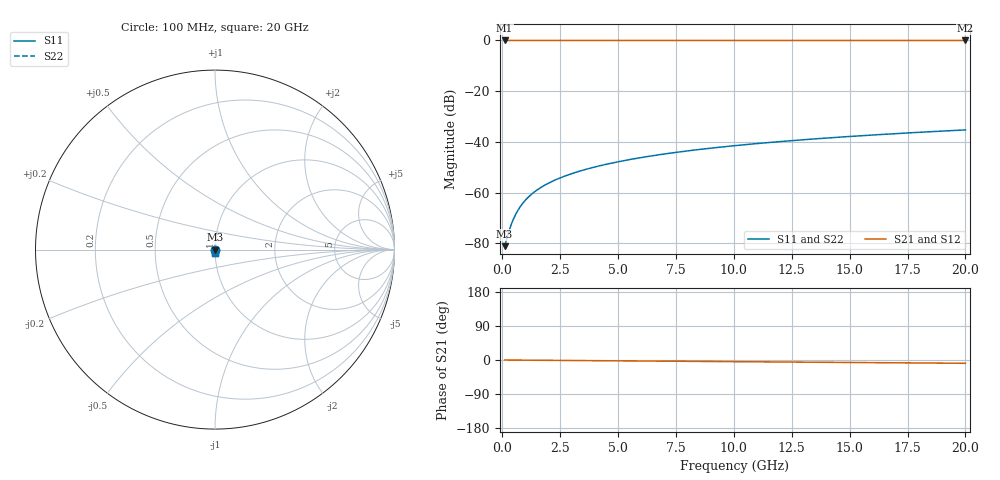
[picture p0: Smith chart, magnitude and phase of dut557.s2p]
! Touchstone file exported from HFSS 2026.1.0
!  File:  C:/ffzhzh/LocalFiles/Ansys_Project_Files/temp_train_TSV_557_1783024415_55676.aedt
!  Generated:  04:35:02 AM Jul  3, 2026
!  Design:  TSV
!  Project:  temp_train_TSV_557_1783024415_55676
! Variables:
!  h_bsmrdl = 2um
!  h_ox = 20um
!  h_rdl = 5um
!  h_sub = 86.61um
!  h_tmrdl = 5um
!  h_tsv = 86.61um
!  h_via = 3um
!  l_bsmrdl = 300um
!  l_sub = 429.4um
!  l_tmrdl = 200um
!  m_sub = 200um
!  pitch = 52.46um
!  r_tsv = 14.7um
!  s_tmrdl = 10um
!  w_bsmrdl = 18um
!  w_sub = 500um
!  w_tmrdl = 12um
!  x_tsv_center1 = 206um
!  x_tsv_center2 = 524um
!  x_tsv_center3 = 736um
!  x_tsv_center4 = 1054um
!  x_tsv_center5 = 1266um
!  x_tsv_center6 = 1584um
# GHz S MA R 50.000000
! Terminal data exported
! Port[1] = TSV1_1_T1
! Port[2] = TSV1_1_T2
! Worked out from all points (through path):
!   200 points, 100 MHz to 20 GHz, reference 50 ohm
!   highest |S21| = 0.00 dB at 100 MHz (marker M1); lowest = 0.0 dB at 20 GHz (marker M2)
!   group delay of S21, straight-line fit = 1.21 ps
!   lowest |S11| = -81.1 dB at 100 MHz (marker M3), VSWR 1.00, Z = 50 - j0.00419 ohm
!   |S11| at or under -10 dB: start of sweep to end of sweep
!   |S22| runs from -81.1 to -35.2 dB; largest |S21 - S12| = 2.1e-15
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0.1  8.851e-05 -28.3  0.9999 -0.0  0.9999 -0.0  8.851e-05 -28.3
! Gamma 0 0 0 0
! Port Impedance 50 0 50 0
0.2  0.0001281 -43.5  0.9999 -0.1  0.9999 -0.1  0.0001281 -43.5
0.3  0.000182 -51.0  0.9999 -0.1  0.9999 -0.1  0.000182 -51.0
0.4  0.0002458 -55.6  0.9999 -0.2  0.9999 -0.2  0.0002458 -55.6
0.5  0.0003166 -58.9  0.9998 -0.2  0.9998 -0.2  0.0003166 -58.9
0.6  0.0003921 -61.6  0.9998 -0.3  0.9998 -0.3  0.0003921 -61.6
0.7  0.0004708 -63.9  0.9998 -0.3  0.9998 -0.3  0.0004708 -63.8
0.9  0.0006333 -67.6  0.9998 -0.4  0.9998 -0.4  0.0006333 -67.6
1.2  0.0008815 -71.7  0.9997 -0.5  0.9997 -0.5  0.0008815 -71.7
1.4  0.001048 -73.8  0.9997 -0.6  0.9997 -0.6  0.001048 -73.8
1.6  0.001214 -75.4  0.9997 -0.7  0.9997 -0.7  0.001214 -75.4
2.1  0.001628 -78.3  0.9996 -0.9  0.9996 -0.9  0.001628 -78.3
2.7  0.002127 -80.5  0.9996 -1.2  0.9996 -1.2  0.002127 -80.5
3.5  0.002796 -82.5  0.9996 -1.5  0.9996 -1.5  0.002796 -82.5
4.2  0.003388 -83.7  0.9995 -1.8  0.9995 -1.8  0.003388 -83.7
5  0.004071 -84.7  0.9995 -2.2  0.9995 -2.2  0.004071 -84.7
6.8  0.005626 -86.6  0.9994 -3.0  0.9994 -3.0  0.005626 -86.6
8.3  0.006934 -87.9  0.9993 -3.6  0.9993 -3.6  0.006934 -87.9
10.1  0.008511 -89.3  0.9992 -4.4  0.9992 -4.4  0.008511 -89.3
13.4  0.01142 -91.5  0.9991 -5.8  0.9991 -5.8  0.01142 -91.5
16.7  0.01434 -93.4  0.9989 -7.3  0.9989 -7.3  0.01434 -93.4
20  0.01728 -95.2  0.9988 -8.7  0.9988 -8.7  0.01728 -95.1
